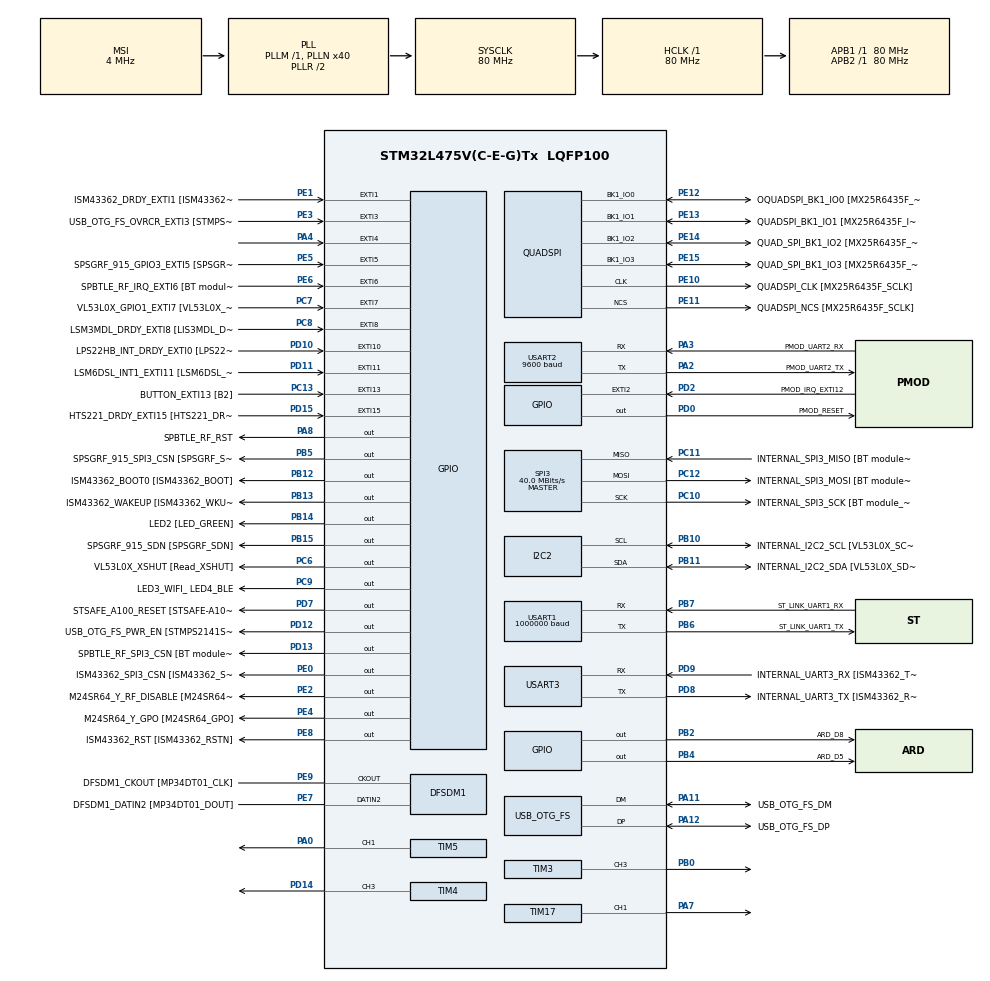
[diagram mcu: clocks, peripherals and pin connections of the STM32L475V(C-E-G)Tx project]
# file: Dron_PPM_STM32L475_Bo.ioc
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PD12.GPIO_Label=USB_OTG_FS_PWR_EN [STMPS2141STR_EN]
SPI3.Direction=SPI_DIRECTION_2LINES
VP_TIM17_VS_ClockSourceINT.Mode=Enable_Timer
SPI3.VirtualType=VM_MASTER
QUADSPI.ClockPrescaler=2
PB10.Mode=I2C
PC12.Signal=SPI3_MOSI
PB14.GPIO_Label=LED2 [LED_GREEN]
PC6.GPIO_Label=VL53L0X_XSHUT [Read_XSHUT]
PA6.GPIO_Label=ARD_D12 [SPI1_MISO]
PB6.GPIO_Label=ST_LINK_UART1_TX
PC15-OSC32_OUT\ (PC15).Mode=LSE-External-Oscillator
PB13.Signal=GPIO_Output
PE6.GPIO_Label=SPBTLE_RF_IRQ_EXTI6 [BT module_SPI_IRQ]
RCC.SYSCLKSource=RCC_SYSCLKSOURCE_PLLCLK
PC14-OSC32_IN\ (PC14).Mode=LSE-External-Oscillator
SH.ADCx_IN16.0=ADC1_IN16
USART3.VirtualMode-Asynchronous=VM_ASYNC
PA14\ (JTCK-SWCLK).Signal=SYS_JTCK-SWCLK
PD4.Signal=USART2_RTS
RCC.APB2TimFreq_Value=80000000
PB6.Signal=USART1_TX
PC7.Signal=GPXTI7
PB6.Mode=Asynchronous
PC3.Signal=ADCx_IN4
PD0.Signal=GPIO_Output
PD8.Signal=USART3_TX
PE5.Signal=GPXTI5
PE1.Signal=GPXTI1
QUADSPI.FlashSize=23
TIM5.Pulse-PWM\ Generation1\ CH1=99
NVIC.EXTI15_10_IRQn=true\:0\:0\:false\:false\:true\:true\:true
TIM3.Pulse-PWM\ Generation3\ CH3=99
TIM4.Channel-PWM\ Generation3\ CH3=TIM_CHANNEL_3
PB2.Signal=GPIO_Output
TIM17.Channel=TIM_CHANNEL_1
PD1.GPIO_Label=PMOD_SPI2_SCK
PB12.GPIO_Label=ISM43362_BOOT0 [ISM43362_BOOT]
PC4.GPIO_Label=ARD_A1 [ADC]
PE9.Signal=S_CKOUTDFSDM1
PB1.GPIO_Label=ARD_D6 [ADC1_IN6]
NVIC.TIM2_IRQn=true\:0\:0\:false\:false\:true\:true\:true
PE4.GPIO_Label=M24SR64_Y_GPO [M24SR64_GPO]
PE2.Signal=GPIO_Output
PA8.Signal=GPIO_Output
PE13.Mode=Single Bank
TIM4.Period=1999
PE10.Signal=QUADSPI_CLK
PA0.Signal=S_TIM5_CH1
Mcu.Package=LQFP100
PB9.Signal=I2C1_SDA
TIM2.Prescaler=7
PB1.Signal=ADCx_IN16
SPI3.Mode=SPI_MODE_MASTER
SH.ADCx_IN14.0=ADC1_IN14
PD12.Signal=GPIO_Output
PA10.Signal=USB_OTG_FS_ID
PE12.GPIO_Label=OQUADSPI_BK1_IO0 [MX25R6435F_IO0]
PC11.Mode=Full_Duplex_Master
RCC.APB1TimFreq_Value=80000000
PA13\ (JTMS-SWDIO).Signal=SYS_JTMS-SWDIO
NVIC.USART1_IRQn=true\:0\:0\:false\:false\:true\:true\:true
PE10.GPIO_Label=QUADSPI_CLK [MX25R6435F_SCLK]
PD15.Signal=GPXTI15
PE12.Mode=Single Bank
NVIC.EXTI4_IRQn=true\:0\:0\:false\:false\:true\:true\:true
TIM4.Pulse-PWM\ Generation3\ CH3=99
PD9.GPIO_Label=INTERNAL_UART3_RX [ISM43362_TX]
TIM17.Pulse=99
PA9.GPIO_Label=USB_OTG_FS_VBUS [STMPS2141STR_OUT]
PC13.Signal=GPXTI13
PD3.Signal=USART2_CTS
PC6.Signal=GPIO_Output
PE10.Mode=Single Bank
PC2.Signal=ADCx_IN3
PB11.GPIO_Label=INTERNAL_I2C2_SDA [VL53L0X_SDA]
PD7.Signal=GPIO_Output
PD1.Signal=SPI2_SCK
PA11.GPIO_Label=USB_OTG_FS_DM
PC0.Signal=ADCx_IN1
USART2.BaudRate=9600
PD10.Signal=GPXTI10
PA3.Mode=Asynchronous
TIM3.Channel-PWM\ Generation3\ CH3=TIM_CHANNEL_3
PB8.GPIO_Label=ARD_D15 [I2C1_SCL]
PA8.GPIO_Label=SPBTLE_RF_RST
PB11.Mode=I2C
PE8.GPIO_Label=ISM43362_RST [ISM43362_RSTN]
PA9.Signal=USB_OTG_FS_VBUS
PA4.GPIO_ModeDefaultEXTI=GPIO_MODE_IT_RISING_FALLING
PE9.GPIO_Label=DFSDM1_CKOUT [MP34DT01_CLK]
PD8.Mode=Asynchronous
PB10.Signal=I2C2_SCL
PB14.Signal=GPIO_Output
PA5.Signal=SPI1_SCK
PC12.Mode=Full_Duplex_Master
PE1.GPIO_Label=ISM43362_DRDY_EXTI1 [ISM43362_DATARDY]
PE14.Signal=QUADSPI_BK1_IO2
PE15.Signal=QUADSPI_BK1_IO3
PB15.GPIO_Label=SPSGRF_915_SDN [SPSGRF_SDN]
PE8.Signal=GPIO_Output
SH.ADCx_IN4.0=ADC1_IN4
QUADSPI.FifoThreshold=4
TIM2.Period=99
PC7.GPIO_Label=VL53L0X_GPIO1_EXTI7 [VL53L0X_GPIO1]
PA13\ (JTMS-SWDIO).Mode=Serial_Wire
PA4.Signal=GPXTI4
PB5.Signal=GPIO_Output
PE13.GPIO_Label=QUADSPI_BK1_IO1 [MX25R6435F_IO1]
PA5.GPIO_Label=ARD_D13 [SPI1_SCK]
PD11.Signal=GPXTI11
PE5.GPIO_Label=SPSGRF_915_GPIO3_EXTI5 [SPSGRF_GPIO_3]
PC12.GPIO_Label=INTERNAL_SPI3_MOSI [BT module_SPI_MOSI] [ISM43362_MOSI]
PA11.Signal=USB_OTG_FS_DM
TIM5.Channel-PWM\ Generation1\ CH1=TIM_CHANNEL_1
ProjectManager.HeapSize=0x200
VP_TIM4_VS_ClockSourceINT.Mode=Internal
SH.S_TIM17_CH1.0=TIM17_CH1,PWM Generation1 CH1
NVIC.PriorityGroup=NVIC_PRIORITYGROUP_4
PE3.Signal=GPXTI3
PC3.GPIO_Label=ARD_A2 [ADC]
PB4\ (NJTRST).GPIO_Label=ARD_D5
PD2.Signal=GPXTI2
PB0.Signal=S_TIM3_CH3
PC1.Signal=ADCx_IN2
PD2.GPIO_Label=PMOD_IRQ_EXTI12
PE15.Mode=Single Bank
Mcu.Family=STM32L4
TIM17.Prescaler=799
RCC.CortexFreq_Value=80000000
PE11.GPIO_Label=QUADSPI_NCS [MX25R6435F_SCLK]
USART1.BaudRate=1000000
SH.ADCx_IN2.0=ADC1_IN2
PC10.Signal=SPI3_SCK
I2C2.Timing=0x10909CEC
PC0.GPIO_Label=ARD_A5 [ADC]
PD0.GPIO_Label=PMOD_RESET
PA11.Mode=Device_Only
PC13.GPIO_Label=BUTTON_EXTI13 [B2]
PB13.GPIO_Label=ISM43362_WAKEUP [ISM43362_WKUP]
PB11.Signal=I2C2_SDA
PB15.Signal=GPIO_Output
PD9.Mode=Asynchronous
ProjectManager.StackSize=0x400
PB3\ (JTDO-TRACESWO).Signal=SYS_JTDO-SWO
PD13.Signal=GPIO_Output
PA12.Signal=USB_OTG_FS_DP
PE11.Mode=Single Bank
PD11.GPIO_Label=LSM6DSL_INT1_EXTI11 [LSM6DSL_INT1]
RCC.HCLKFreq_Value=80000000
SH.ADCx_IN3.0=ADC1_IN3
TIM3.Period=1999
PB5.PinState=GPIO_PIN_SET
RCC.AHBFreq_Value=80000000
RCC.HSE_VALUE=8000000
USART2.VirtualMode-Asynchronous=VM_ASYNC
TIM17.Period=1999
PE13.Signal=QUADSPI_BK1_IO1
TIM3.Prescaler=799
PC11.GPIO_Label=INTERNAL_SPI3_MISO [BT module_SPI_MISO] [ISM43362_MISO]
PA10.GPIO_Label=USB_OTG_FS_ID
PB7.Signal=USART1_RX
PE4.Signal=GPIO_Output
QUADSPI.SampleShifting=QSPI_SAMPLE_SHIFTING_HALFCYCLE
PD7.GPIO_Label=STSAFE_A100_RESET [STSAFE-A100_RESET]
PB7.GPIO_Label=ST_LINK_UART1_RX
PD13.GPIO_Label=SPBTLE_RF_SPI3_CSN [BT module_SPI_CS]
PA6.Signal=SPI1_MISO
PA2.GPIO_Label=PMOD_UART2_TX
USB_OTG_FS.VirtualMode=Device_Only
PE0.GPIO_Label=ISM43362_SPI3_CSN [ISM43362_SSN]
SH.ADCx_IN1.0=ADC1_IN1
PB5.GPIO_Label=SPSGRF_915_SPI3_CSN [SPSGRF_SPI_CS]
SH.S_TIM5_CH1.0=TIM5_CH1,PWM Generation1 CH1
PC5.Signal=ADCx_IN14
PD3.GPIO_Label=PMOD_UART2_CTS
PE7.Signal=S_DATAIN2DFSDM1
PE2.GPIO_Label=M24SR64_Y_RF_DISABLE [M24SR64_RFDIS]
PC2.GPIO_Label=ARD_A3 [ADC]
VP_TIM3_VS_ClockSourceINT.Mode=Internal
RCC.PLLSAI1N=24
PA3.Signal=USART2_RX
RCC.MSI_VALUE=4000000
PA14\ (JTCK-SWCLK).Mode=Serial_Wire
SH.ADCx_IN13.0=ADC1_IN13
PD15.GPIO_Label=HTS221_DRDY_EXTI15 [HTS221_DRDY]
PB9.GPIO_Label=ARD_D14 [I2C1_SDA]
PC10.GPIO_Label=INTERNAL_SPI3_SCK [BT module_SPI_SCLK] [ISM43362_SCK]
PC9.GPIO_Label=LED3_WIFI_ LED4_BLE
PC11.Signal=SPI3_MISO
PC8.Signal=GPXTI8
PC4.Signal=ADCx_IN13
PC10.Mode=Full_Duplex_Master
SH.S_DATAIN2DFSDM1.0=DFSDM1_DATIN2,PDM_SPI_Input_from_ch12_and_Internal_Clock
PE14.GPIO_Label=QUAD_SPI_BK1_IO2 [MX25R6435F_IO2]
PC15-OSC32_OUT\ (PC15).Signal=RCC_OSC32_OUT
PD9.Signal=USART3_RX
PA14\ (JTCK-SWCLK).GPIO_Label=SYS_JTCK_SWCLK
PB3\ (JTDO-TRACESWO).GPIO_Label=SYS_JTD0_SWO
SH.S_TIM3_CH3.0=TIM3_CH3,PWM Generation3 CH3
NVIC.USART2_IRQn=true\:0\:0\:false\:false\:true\:true\:true
PA12.GPIO_Label=USB_OTG_FS_DP
PD8.GPIO_Label=INTERNAL_UART3_TX [ISM43362_RX]
PC8.GPIO_Label=LSM3MDL_DRDY_EXTI8 [LIS3MDL_DRDY]
USART1.VirtualMode-Asynchronous=VM_ASYNC
PE0.PinState=GPIO_PIN_SET
PE15.GPIO_Label=QUAD_SPI_BK1_IO3 [MX25R6435F_IO3]
ProjectManager.TargetToolchain=STM32CubeIDE
PB10.GPIO_Label=INTERNAL_I2C2_SCL [VL53L0X_SCL]
SH.S_TIM4_CH3.0=TIM4_CH3,PWM Generation3 CH3
RCC.USBFreq_Value=48000000
PD10.GPIO_Label=LPS22HB_INT_DRDY_EXTI0 [LPS22HB_INT_DRDY] 
TIM4.Prescaler=799
PE11.Signal=QUADSPI_NCS
board=B-L475E-IOT01A1
RCC.VCOOutputFreq_Value=160000000
RCC.APB2Freq_Value=80000000
SPI3.CalculateBaudRate=40.0 MBits/s
PA13\ (JTMS-SWDIO).GPIO_Label=SYS_JTMS_SWDIO
VP_TIM2_VS_ClockSourceINT.Mode=Internal
PD4.GPIO_Label=PMOD_UART2_RTS
PE14.Mode=Single Bank
SH.S_CKOUTDFSDM1.0=DFSDM1_CKOUT,CKOUT
SH.S_CKOUTDFSDM1.1=DFSDM1_CKOUT,PDM_SPI_Input_from_ch12_and_Internal_Clock
RCC.ADCFreq_Value=48000000
PC1.GPIO_Label=ARD_A4 [ADC]
PE6.Signal=GPXTI6
Mcu.Name=STM32L475V(C-E-G)Tx
PE0.Signal=GPIO_Output
PE7.GPIO_Label=DFSDM1_DATIN2 [MP34DT01_DOUT]
PE12.Signal=QUADSPI_BK1_IO0
PA2.Signal=USART2_TX
PD14.Signal=S_TIM4_CH3
RCC.SYSCLKFreq_VALUE=80000000
PA12.Mode=Device_Only
TIM5.Prescaler=799
PC13.GPIO_ModeDefaultEXTI=GPIO_MODE_IT_FALLING
PC5.GPIO_Label=ARD_A0 [ADC]
PC14-OSC32_IN\ (PC14).Signal=RCC_OSC32_IN
PB7.Mode=Asynchronous
NVIC.EXTI9_5_IRQn=true\:0\:0\:false\:false\:true\:true\:true
PB2.GPIO_Label=ARD_D8
RCC.HSI_VALUE=16000000
RCC.PLLN=40
PA2.Mode=Asynchronous
PB8.Signal=I2C1_SCL
PE3.GPIO_Label=USB_OTG_FS_OVRCR_EXTI3 [STMPS2141STR_FAULT]
TIM5.Period=1999
PC9.Signal=GPIO_Output
PD13.PinState=GPIO_PIN_SET
RCC.APB1Freq_Value=80000000
PB12.Signal=GPIO_Output
PA3.GPIO_Label=PMOD_UART2_RX
PA7.Signal=S_TIM17_CH1
PB4\ (NJTRST).Signal=GPIO_Output

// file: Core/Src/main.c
/* USER CODE BEGIN Header */
/**
  ******************************************************************************
  * @file           : main.c
  * @brief          : Main program body
  ******************************************************************************
  * @attention
  *
  * <h2><center>&copy; Copyright (c) 2021 STMicroelectronics.
  * All rights reserved.</center></h2>
  *
  * This software component is licensed by ST under BSD 3-Clause license,
  * the "License"; You may not use this file except in compliance with the
  * License. You may obtain a copy of the License at:
  *                        opensource.org/licenses/BSD-3-Clause
  *
  ******************************************************************************
  */
/* USER CODE END Header */
#include "main.h"

/* USER CODE BEGIN Includes */
#include <math.h>
#include <string.h>
/* USER CODE END Includes */

DFSDM_Channel_HandleTypeDef hdfsdm1_channel1;

I2C_HandleTypeDef hi2c2;

QSPI_HandleTypeDef hqspi;

SPI_HandleTypeDef hspi3;

TIM_HandleTypeDef htim2;
TIM_HandleTypeDef htim3;
TIM_HandleTypeDef htim4;
TIM_HandleTypeDef htim5;
TIM_HandleTypeDef htim17;

UART_HandleTypeDef huart1;
UART_HandleTypeDef huart2;
UART_HandleTypeDef huart3;

PCD_HandleTypeDef hpcd_USB_OTG_FS;

/* USER CODE BEGIN PV */

int16_t yow_output=0, roll_output=0, pitch_output=0;
int16_t HighTime[9];
int16_t LowTime[9];
int16_t PwmTime[9];
uint32_t Count=0;
uint32_t msTime = 0;
#define Gyro_Max 2.0
#define Gyro_Min -2.0

float Kp = 0.38, Ki = 0, Kd = 0, g_Kp = 0.485, g_Ki = 0, g_Kd = 0.05;
// Kp = 70, g_Kp = 0.0035
uint32_t Motor[4]= {0,};
int16_t Acc_XYZ_Data[3] = {0,};
float Gyro_XYZ_Data[3] = {0,}, LPF_Output[3] ={0,}, fAcc[3] = {0,}, LGY_Output[3] ={0,}, fGyro[3] = {0,};

float Gyro_Pitch_Input=0, Gyro_Roll_Input=0, Gyro_Yaw_Input=0;

float GyroX = 0, GyroY = 0, GyroZ = 0;
float sum[3] ={0,}, g_sum[3] ={0,};
float temp_angleX=0,temp_angleY=0,temp_angleZ=0;
float AcXYZ[3] = {0,} , BaseAc[3] = {0,},BaseG[3] = {0,}, accel_yz, accel_xz, accel_angle_x, accel_angle_y, accel_angle_z;
const float RADIANS_TO_DEGREES = 180 / 3.14159;
float PID[3]={0,};
float DTime = 0.001;
float error[3]={0,}, _error[3]={0,}, PID_P[3]={0,}, PID_I[3]={0,}, PID_D[3]={0,};
float g_error[3]={0,}, _g_error[3]={0,}, g_PID_P[3]={0,}, g_PID_I[3]={0,}, g_PID_D[3]={0,};
float now_speed[3]={0,}, goal_speed[3]={0,};
float now_angle[3];
float goal_angle[3]={0,};
char Data[50], kpData[50],rData;

void HAL_UART_RxCpltCallback(UART_HandleTypeDef *huart)
{
	if(huart->Instance == USART2)
	{
		if(rData == '1') Kp += 1;
		else if(rData == '2') Kp -= 1;
		else if(rData == '3') g_Kp += 0.0001;
		else if(rData == '4') g_Kp -= 0.0001;
		else if(rData == '5') g_Ki += 0.05;
		else if(rData == '6') g_Ki -= 0.05;
		else if(rData == '7') g_Kd += 0.05;
		else if(rData == '8') g_Kd -= 0.05;
		else if(rData == '9')
		{
			for(int i=0; i<3; i++)	g_PID_I[i] = 0;
		}
		sprintf(kpData,"kp=%.2f / gkp=%.4f / gki=%.3f / gkd=%.3f",Kp,g_Kp, g_Ki,g_Kd);
		HAL_UART_Transmit_IT(&huart2, kpData, strlen(kpData));
		HAL_UART_Receive_IT(&huart2, &rData, 1);
	}
}

void HAL_GPIO_EXTI_Callback(uint16_t GPIO_Pin)
{
	if(HAL_GPIO_ReadPin(GPIOA, GPIO_PIN_4)==GPIO_PIN_SET)
	{
		HighTime[Count++] = msTime;
	}
	else if(HAL_GPIO_ReadPin(GPIOA, GPIO_PIN_4)==GPIO_PIN_RESET)
	{
		if(Count > 0)
		{
			LowTime[Count-1] = msTime;
			if(LowTime[Count-1] - HighTime[Count-1]>600)
			{
				Count=9;
			}
			PwmTime[Count-1] = LowTime[Count-1] - HighTime[Count-1];
		}
		if(Count>8)
		{
			Count =0;
			msTime =0;
		}
	}
}

void HAL_TIM_PeriodElapsedCallback(TIM_HandleTypeDef *htim)
{
	if(htim->Instance == TIM2)
	{
		msTime++;
	}
}
/* USER CODE END PV */

void SystemClock_Config(void);
static void MX_GPIO_Init(void);
static void MX_DFSDM1_Init(void);
static void MX_I2C2_Init(void);
static void MX_QUADSPI_Init(void);
static void MX_SPI3_Init(void);
static void MX_USART1_UART_Init(void);
static void MX_USART3_UART_Init(void);
static void MX_USB_OTG_FS_PCD_Init(void);
static void MX_TIM2_Init(void);
static void MX_TIM3_Init(void);
static void MX_TIM4_Init(void);
static void MX_TIM5_Init(void);
static void MX_TIM17_Init(void);
static void MX_USART2_UART_Init(void);

int main(void)
{

  /* MCU Configuration--------------------------------------------------------*/

  /* Reset of all peripherals, Initializes the Flash interface and the Systick. */
  HAL_Init();

  /* Configure the system clock */
  SystemClock_Config();

  /* Initialize all configured peripherals */
  MX_GPIO_Init();
  MX_DFSDM1_Init();
  MX_I2C2_Init();
  MX_QUADSPI_Init();
  MX_SPI3_Init();
  MX_USART1_UART_Init();
  MX_USART3_UART_Init();
  MX_USB_OTG_FS_PCD_Init();
  MX_TIM2_Init();
  MX_TIM3_Init();
  MX_TIM4_Init();
  MX_TIM5_Init();
  MX_TIM17_Init();
  MX_USART2_UART_Init();
  /* USER CODE BEGIN 2 */
  HAL_UART_Receive_IT(&huart2, &rData, 1);

  HAL_TIM_Base_Start_IT(&htim2);

  HAL_TIM_PWM_Start(&htim17, TIM_CHANNEL_1);
  HAL_TIM_PWM_Start(&htim5, TIM_CHANNEL_1);
  HAL_TIM_PWM_Start(&htim4, TIM_CHANNEL_3);
  HAL_TIM_PWM_Start(&htim3, TIM_CHANNEL_3);
  BSP_ACCELERO_Init();
  BSP_GYRO_Init();
  //초기값 설정
  for(int j=0; j<100; j++)
  {
	  BSP_ACCELERO_AccGetXYZ(Acc_XYZ_Data);
	  BSP_GYRO_GetXYZ(Gyro_XYZ_Data);
	  sum[0] += Acc_XYZ_Data[0];
	  sum[1] += Acc_XYZ_Data[1];
	  sum[2] += Acc_XYZ_Data[2];
	  g_sum[0] += Gyro_XYZ_Data[0];
	  g_sum[1] += Gyro_XYZ_Data[1];
	  g_sum[2] += Gyro_XYZ_Data[2];
  }
  BaseAc[0] = sum[0] / 100;
  BaseAc[1] = sum[1] / 100;
  BaseAc[2] = sum[2] / 100;
  BaseG[0] = g_sum[0] / 100;
  BaseG[1] = g_sum[1] / 100;
  BaseG[2] = g_sum[2] / 100;

  /* USER CODE END 2 */

  /* Infinite loop */
  /* USER CODE BEGIN WHILE */
  while (1)
  {
	  //각도, 각속도 측정
	  BSP_ACCELERO_AccGetXYZ(Acc_XYZ_Data);
	  BSP_GYRO_GetXYZ(Gyro_XYZ_Data);
	  //각도 필터
	  fAcc[0] = Acc_XYZ_Data[0] - BaseAc[0];
	  fAcc[1] = Acc_XYZ_Data[1] - BaseAc[1];
	  fAcc[2] = Acc_XYZ_Data[2] + 1008 - BaseAc[2];

	  for(int j=0;j<3;j++)
		  LPF_Output[j] = (0.05 * LPF_Output[j]) + (1-0.05) * fAcc[j];

	  AcXYZ[0] = LPF_Output[0];
	  AcXYZ[1] = LPF_Output[1];
	  AcXYZ[2] = LPF_Output[2];
	  //가속도 필터

	  fGyro[0] = -((Gyro_XYZ_Data[0] - BaseG[0]) / 12.5); //65536
	  fGyro[1] = ((Gyro_XYZ_Data[1] - BaseG[1]) / 16);
	  fGyro[2] = -((Gyro_XYZ_Data[2] - BaseG[2]) / 20);

	  for(int j=0;j<3;j++)
		  LGY_Output[j] = (0.05 * LGY_Output[j]) + (1-0.05) * fGyro[j];

	  fGyro[0] = LGY_Output[0];
	  fGyro[1] = LGY_Output[1];
	  fGyro[2] =  LGY_Output[2];

	  Gyro_Pitch_Input = (Gyro_Pitch_Input * 0.7) + ((fGyro[0] / 65.5) * 0.3);
	  Gyro_Roll_Input  = (Gyro_Roll_Input * 0.7)  + ((fGyro[1] / 65.5) * 0.3);
	  Gyro_Yaw_Input   = (Gyro_Yaw_Input * 0.7)   + ((fGyro[2] / 65.5) * 0.3);

	  now_angle[0] = now_angle[0] + (fGyro[0] *  0.0000382);
	  now_angle[1]  = now_angle[1]  + (fGyro[1] *  0.0000382);

	  //각도 자료형 변환
	  accel_xz = sqrt(pow(AcXYZ[0],2) + pow(AcXYZ[2],2));
	  accel_angle_x = atan(-AcXYZ[1]/accel_xz) * RADIANS_TO_DEGREES;
	  accel_yz = sqrt(pow(AcXYZ[1],2) + pow(AcXYZ[2],2));
	  accel_angle_y = atan(-AcXYZ[0]/accel_yz) * RADIANS_TO_DEGREES;
	  accel_angle_z = 0;

	  //각속도, 각도의 비율을 조절
	  now_angle[0] = (0.9996 * now_angle[0] + (0.0004)*accel_angle_x);			//x		Pitch
	  now_angle[1] = (0.9996 * now_angle[1] + (0.0004)*accel_angle_y);			//y		Roll
	  now_angle[2] = Gyro_Yaw_Input;													//z		Yaw
	  //now_angle[2] = temp_angleZ;
	  for(int j=0; j <3; j++)
	  {
		  if(now_angle[j]>35)
			  now_angle[j] = 35;
		  else if( now_angle[j]<-35)
			  now_angle[j] = -35;
	  }
	  goal_angle[0] = (PwmTime[2]-112);
	  goal_angle[1] = -(PwmTime[0]-112);
	  goal_angle[2] = -(PwmTime[3]-112);

	  //목표값과 기기상태값의 차이를 error로 저장
	  error[0] = (goal_angle[0] - now_angle[0]);
	  error[1] = (goal_angle[1] - now_angle[1]);
	  error[2] = (goal_angle[2] - now_angle[2]);

	  //2중 PID제어
	  PID_P[0]  = Kp * error[0];
	  PID_I[0]  = Ki * error[0] * DTime;
	  PID_D[0]  = Kd * (error[0]-_error[0]);

	  PID_P[1]  = Kp * error[1];
	  PID_I[1]  = Ki * error[1] * DTime;
	  PID_D[1]  = Kd * (error[1]-_error[1]);

	  PID_P[2]  = Kp * error[2];
	  PID_I[2]  = Ki * error[2] * DTime;
	  PID_D[2]  = Kd * (error[2]-_error[2]);

	  g_error[0] = PID_P[0] - (Gyro_Pitch_Input*0.05); //GyroX
	  g_error[1] = PID_P[1] - (Gyro_Roll_Input*0.05);
	  g_error[2] = PID_P[2] - (Gyro_Yaw_Input*0.05);

	  g_PID_P[0]  = g_Kp * g_error[0];
	  g_PID_I[0] += g_Ki * g_error[0]*DTime;
	  g_PID_D[0]  = g_Kd * (g_error[0]-_g_error[0]);

	  g_PID_P[1]  = g_Kp * g_error[1];
	  g_PID_I[1] += g_Ki * g_error[1]*DTime;
	  g_PID_D[1]  = g_Kd * (g_error[1]-_g_error[1]);

	  g_PID_P[2]  = g_Kp * g_error[2];
	  g_PID_I[2] += g_Ki * g_error[2]*DTime;
	  g_PID_D[2]  = g_Kd * (g_error[2]-_g_error[2]);

	  pitch_output = (g_PID_P[0] + g_PID_I[0] + g_PID_D[0]);
	  roll_output  = (g_PID_P[1] + g_PID_I[1] + g_PID_D[1]);
	  yow_output = 0;// g_PID_P[2] + g_PID_I[2];

	  Motor[0] = ((PwmTime[1]-70) ==0|| PwmTime[1]-69 == 0) ? 0 : (PwmTime[1] + yow_output + roll_output + pitch_output) + 38; 		//1
	  Motor[1] = ((PwmTime[1]-70) ==0|| PwmTime[1]-69 == 0) ? 0 : (PwmTime[1] - yow_output - roll_output + pitch_output) + 40;		//2
	  Motor[2] = ((PwmTime[1]-70) ==0|| PwmTime[1]-69 == 0) ? 0 : (PwmTime[1] + yow_output - roll_output - pitch_output) + 40;		//3
	  Motor[3] = ((PwmTime[1]-70) ==0|| PwmTime[1]-69 == 0) ? 0 : (PwmTime[1] - yow_output + roll_output - pitch_output) + 37;		//4

	  TIM3->CCR3 =  Motor[0];		//PB0	D3			5
	  TIM17->CCR1 = Motor[1];		//PA7	D11			1
	  TIM5->CCR1 =  Motor[2];		//PA0	D1  		11
	  TIM4->CCR3 =  Motor[3];		//PD14	D2  		7

	  //sprintf(Data,"%d,0,10\n",pitch_output); //Motor[0]
	  sprintf(Data,"%f,-50,50\n",now_angle[0]);
	  HAL_UART_Transmit_IT(&huart1, Data, strlen(Data));

	  _error[0] = error[0];
	  _error[1] = error[1];
	  _error[2] = error[2];

	  _g_error[0] = g_error[0];
	  _g_error[1] = g_error[1];
	  _g_error[2] = g_error[2];

	  HAL_Delay(1);
    /* USER CODE END WHILE */

  }
}

void SystemClock_Config(void)
{
  RCC_OscInitTypeDef RCC_OscInitStruct = {0};
  RCC_ClkInitTypeDef RCC_ClkInitStruct = {0};
  RCC_PeriphCLKInitTypeDef PeriphClkInit = {0};

  /** Configure LSE Drive Capability
  */
  HAL_PWR_EnableBkUpAccess();
  __HAL_RCC_LSEDRIVE_CONFIG(RCC_LSEDRIVE_LOW);
  /** Initializes the RCC Oscillators according to the specified parameters
  * in the RCC_OscInitTypeDef structure.
  */
  RCC_OscInitStruct.OscillatorType = RCC_OSCILLATORTYPE_LSE|RCC_OSCILLATORTYPE_MSI;
  RCC_OscInitStruct.LSEState = RCC_LSE_ON;
  RCC_OscInitStruct.MSIState = RCC_MSI_ON;
  RCC_OscInitStruct.MSICalibrationValue = 0;
  RCC_OscInitStruct.MSIClockRange = RCC_MSIRANGE_6;
  RCC_OscInitStruct.PLL.PLLState = RCC_PLL_ON;
  RCC_OscInitStruct.PLL.PLLSource = RCC_PLLSOURCE_MSI;
  RCC_OscInitStruct.PLL.PLLM = 1;
  RCC_OscInitStruct.PLL.PLLN = 40;
  RCC_OscInitStruct.PLL.PLLP = RCC_PLLP_DIV7;
  RCC_OscInitStruct.PLL.PLLQ = RCC_PLLQ_DIV2;
  RCC_OscInitStruct.PLL.PLLR = RCC_PLLR_DIV2;
  if (HAL_RCC_OscConfig(&RCC_OscInitStruct) != HAL_OK)
  {
    Error_Handler();
  }
  /** Initializes the CPU, AHB and APB buses clocks
  */
  RCC_ClkInitStruct.ClockType = RCC_CLOCKTYPE_HCLK|RCC_CLOCKTYPE_SYSCLK
                              |RCC_CLOCKTYPE_PCLK1|RCC_CLOCKTYPE_PCLK2;
  RCC_ClkInitStruct.SYSCLKSource = RCC_SYSCLKSOURCE_PLLCLK;
  RCC_ClkInitStruct.AHBCLKDivider = RCC_SYSCLK_DIV1;
  RCC_ClkInitStruct.APB1CLKDivider = RCC_HCLK_DIV1;
  RCC_ClkInitStruct.APB2CLKDivider = RCC_HCLK_DIV1;

  if (HAL_RCC_ClockConfig(&RCC_ClkInitStruct, FLASH_LATENCY_4) != HAL_OK)
  {
    Error_Handler();
  }
  PeriphClkInit.PeriphClockSelection = RCC_PERIPHCLK_USART1|RCC_PERIPHCLK_USART2
                              |RCC_PERIPHCLK_USART3|RCC_PERIPHCLK_I2C2
                              |RCC_PERIPHCLK_DFSDM1|RCC_PERIPHCLK_USB;
  PeriphClkInit.Usart1ClockSelection = RCC_USART1CLKSOURCE_PCLK2;
  PeriphClkInit.Usart2ClockSelection = RCC_USART2CLKSOURCE_PCLK1;
  PeriphClkInit.Usart3ClockSelection = RCC_USART3CLKSOURCE_PCLK1;
  PeriphClkInit.I2c2ClockSelection = RCC_I2C2CLKSOURCE_PCLK1;
  PeriphClkInit.Dfsdm1ClockSelection = RCC_DFSDM1CLKSOURCE_PCLK;
  PeriphClkInit.UsbClockSelection = RCC_USBCLKSOURCE_PLLSAI1;
  PeriphClkInit.PLLSAI1.PLLSAI1Source = RCC_PLLSOURCE_MSI;
  PeriphClkInit.PLLSAI1.PLLSAI1M = 1;
  PeriphClkInit.PLLSAI1.PLLSAI1N = 24;
  PeriphClkInit.PLLSAI1.PLLSAI1P = RCC_PLLP_DIV7;
  PeriphClkInit.PLLSAI1.PLLSAI1Q = RCC_PLLQ_DIV2;
  PeriphClkInit.PLLSAI1.PLLSAI1R = RCC_PLLR_DIV2;
  PeriphClkInit.PLLSAI1.PLLSAI1ClockOut = RCC_PLLSAI1_48M2CLK;
  if (HAL_RCCEx_PeriphCLKConfig(&PeriphClkInit) != HAL_OK)
  {
    Error_Handler();
  }
  /** Configure the main internal regulator output voltage
  */
  if (HAL_PWREx_ControlVoltageScaling(PWR_REGULATOR_VOLTAGE_SCALE1) != HAL_OK)
  {
    Error_Handler();
  }
  /** Enable MSI Auto calibration
  */
  HAL_RCCEx_EnableMSIPLLMode();
}

static void MX_DFSDM1_Init(void)
{

  hdfsdm1_channel1.Instance = DFSDM1_Channel1;
  hdfsdm1_channel1.Init.OutputClock.Activation = ENABLE;
  hdfsdm1_channel1.Init.OutputClock.Selection = DFSDM_CHANNEL_OUTPUT_CLOCK_SYSTEM;
  hdfsdm1_channel1.Init.OutputClock.Divider = 2;
  hdfsdm1_channel1.Init.Input.Multiplexer = DFSDM_CHANNEL_EXTERNAL_INPUTS;
  hdfsdm1_channel1.Init.Input.DataPacking = DFSDM_CHANNEL_STANDARD_MODE;
  hdfsdm1_channel1.Init.Input.Pins = DFSDM_CHANNEL_FOLLOWING_CHANNEL_PINS;
  hdfsdm1_channel1.Init.SerialInterface.Type = DFSDM_CHANNEL_SPI_RISING;
  hdfsdm1_channel1.Init.SerialInterface.SpiClock = DFSDM_CHANNEL_SPI_CLOCK_INTERNAL;
  hdfsdm1_channel1.Init.Awd.FilterOrder = DFSDM_CHANNEL_FASTSINC_ORDER;
  hdfsdm1_channel1.Init.Awd.Oversampling = 1;
  hdfsdm1_channel1.Init.Offset = 0;
  hdfsdm1_channel1.Init.RightBitShift = 0x00;
  if (HAL_DFSDM_ChannelInit(&hdfsdm1_channel1) != HAL_OK)
  {
    Error_Handler();
  }

}

static void MX_I2C2_Init(void)
{

  hi2c2.Instance = I2C2;
  hi2c2.Init.Timing = 0x10909CEC;
  hi2c2.Init.OwnAddress1 = 0;
  hi2c2.Init.AddressingMode = I2C_ADDRESSINGMODE_7BIT;
  hi2c2.Init.DualAddressMode = I2C_DUALADDRESS_DISABLE;
  hi2c2.Init.OwnAddress2 = 0;
  hi2c2.Init.OwnAddress2Masks = I2C_OA2_NOMASK;
  hi2c2.Init.GeneralCallMode = I2C_GENERALCALL_DISABLE;
  hi2c2.Init.NoStretchMode = I2C_NOSTRETCH_DISABLE;
  if (HAL_I2C_Init(&hi2c2) != HAL_OK)
  {
    Error_Handler();
  }
  /** Configure Analogue filter
  */
  if (HAL_I2CEx_ConfigAnalogFilter(&hi2c2, I2C_ANALOGFILTER_ENABLE) != HAL_OK)
  {
    Error_Handler();
  }
  /** Configure Digital filter
  */
  if (HAL_I2CEx_ConfigDigitalFilter(&hi2c2, 0) != HAL_OK)
  {
    Error_Handler();
  }

}

static void MX_QUADSPI_Init(void)
{

  /* QUADSPI parameter configuration*/
  hqspi.Instance = QUADSPI;
  hqspi.Init.ClockPrescaler = 2;
  hqspi.Init.FifoThreshold = 4;
  hqspi.Init.SampleShifting = QSPI_SAMPLE_SHIFTING_HALFCYCLE;
  hqspi.Init.FlashSize = 23;
  hqspi.Init.ChipSelectHighTime = QSPI_CS_HIGH_TIME_1_CYCLE;
  hqspi.Init.ClockMode = QSPI_CLOCK_MODE_0;
  if (HAL_QSPI_Init(&hqspi) != HAL_OK)
  {
    Error_Handler();
  }

}

static void MX_SPI3_Init(void)
{

  /* SPI3 parameter configuration*/
  hspi3.Instance = SPI3;
  hspi3.Init.Mode = SPI_MODE_MASTER;
  hspi3.Init.Direction = SPI_DIRECTION_2LINES;
  hspi3.Init.DataSize = SPI_DATASIZE_4BIT;
  hspi3.Init.CLKPolarity = SPI_POLARITY_LOW;
  hspi3.Init.CLKPhase = SPI_PHASE_1EDGE;
  hspi3.Init.NSS = SPI_NSS_SOFT;
  hspi3.Init.BaudRatePrescaler = SPI_BAUDRATEPRESCALER_2;
  hspi3.Init.FirstBit = SPI_FIRSTBIT_MSB;
  hspi3.Init.TIMode = SPI_TIMODE_DISABLE;
  hspi3.Init.CRCCalculation = SPI_CRCCALCULATION_DISABLE;
  hspi3.Init.CRCPolynomial = 7;
  hspi3.Init.CRCLength = SPI_CRC_LENGTH_DATASIZE;
  hspi3.Init.NSSPMode = SPI_NSS_PULSE_ENABLE;
  if (HAL_SPI_Init(&hspi3) != HAL_OK)
  {
    Error_Handler();
  }

}

static void MX_TIM2_Init(void)
{

  TIM_ClockConfigTypeDef sClockSourceConfig = {0};
  TIM_MasterConfigTypeDef sMasterConfig = {0};

  htim2.Instance = TIM2;
  htim2.Init.Prescaler = 7;
  htim2.Init.CounterMode = TIM_COUNTERMODE_UP;
  htim2.Init.Period = 99;
  htim2.Init.ClockDivision = TIM_CLOCKDIVISION_DIV1;
  htim2.Init.AutoReloadPreload = TIM_AUTORELOAD_PRELOAD_DISABLE;
  if (HAL_TIM_Base_Init(&htim2) != HAL_OK)
  {
    Error_Handler();
  }
  sClockSourceConfig.ClockSource = TIM_CLOCKSOURCE_INTERNAL;
  if (HAL_TIM_ConfigClockSource(&htim2, &sClockSourceConfig) != HAL_OK)
  {
    Error_Handler();
  }
  sMasterConfig.MasterOutputTrigger = TIM_TRGO_RESET;
  sMasterConfig.MasterSlaveMode = TIM_MASTERSLAVEMODE_DISABLE;
  if (HAL_TIMEx_MasterConfigSynchronization(&htim2, &sMasterConfig) != HAL_OK)
  {
    Error_Handler();
  }

}

static void MX_TIM3_Init(void)
{

  TIM_ClockConfigTypeDef sClockSourceConfig = {0};
  TIM_MasterConfigTypeDef sMasterConfig = {0};
  TIM_OC_InitTypeDef sConfigOC = {0};

  htim3.Instance = TIM3;
  htim3.Init.Prescaler = 799;
  htim3.Init.CounterMode = TIM_COUNTERMODE_UP;
  htim3.Init.Period = 1999;
  htim3.Init.ClockDivision = TIM_CLOCKDIVISION_DIV1;
  htim3.Init.AutoReloadPreload = TIM_AUTORELOAD_PRELOAD_DISABLE;
  if (HAL_TIM_Base_Init(&htim3) != HAL_OK)
  {
    Error_Handler();
  }
  sClockSourceConfig.ClockSource = TIM_CLOCKSOURCE_INTERNAL;
  if (HAL_TIM_ConfigClockSource(&htim3, &sClockSourceConfig) != HAL_OK)
  {
    Error_Handler();
  }
  if (HAL_TIM_PWM_Init(&htim3) != HAL_OK)
  {
    Error_Handler();
  }
  sMasterConfig.MasterOutputTrigger = TIM_TRGO_RESET;
  sMasterConfig.MasterSlaveMode = TIM_MASTERSLAVEMODE_DISABLE;
  if (HAL_TIMEx_MasterConfigSynchronization(&htim3, &sMasterConfig) != HAL_OK)
  {
    Error_Handler();
  }
  sConfigOC.OCMode = TIM_OCMODE_PWM1;
  sConfigOC.Pulse = 99;
  sConfigOC.OCPolarity = TIM_OCPOLARITY_HIGH;
  sConfigOC.OCFastMode = TIM_OCFAST_DISABLE;
  if (HAL_TIM_PWM_ConfigChannel(&htim3, &sConfigOC, TIM_CHANNEL_3) != HAL_OK)
  {
    Error_Handler();
  }
  HAL_TIM_MspPostInit(&htim3);

}

static void MX_TIM4_Init(void)
{

  TIM_ClockConfigTypeDef sClockSourceConfig = {0};
  TIM_MasterConfigTypeDef sMasterConfig = {0};
  TIM_OC_InitTypeDef sConfigOC = {0};

  htim4.Instance = TIM4;
  htim4.Init.Prescaler = 799;
  htim4.Init.CounterMode = TIM_COUNTERMODE_UP;
  htim4.Init.Period = 1999;
  htim4.Init.ClockDivision = TIM_CLOCKDIVISION_DIV1;
  htim4.Init.AutoReloadPreload = TIM_AUTORELOAD_PRELOAD_DISABLE;
  if (HAL_TIM_Base_Init(&htim4) != HAL_OK)
  {
    Error_Handler();
  }
  sClockSourceConfig.ClockSource = TIM_CLOCKSOURCE_INTERNAL;
  if (HAL_TIM_ConfigClockSource(&htim4, &sClockSourceConfig) != HAL_OK)
  {
    Error_Handler();
  }
  if (HAL_TIM_PWM_Init(&htim4) != HAL_OK)
  {
    Error_Handler();
  }
  sMasterConfig.MasterOutputTrigger = TIM_TRGO_RESET;
  sMasterConfig.MasterSlaveMode = TIM_MASTERSLAVEMODE_DISABLE;
  if (HAL_TIMEx_MasterConfigSynchronization(&htim4, &sMasterConfig) != HAL_OK)
  {
    Error_Handler();
  }
  sConfigOC.OCMode = TIM_OCMODE_PWM1;
  sConfigOC.Pulse = 99;
  sConfigOC.OCPolarity = TIM_OCPOLARITY_HIGH;
  sConfigOC.OCFastMode = TIM_OCFAST_DISABLE;
  if (HAL_TIM_PWM_ConfigChannel(&htim4, &sConfigOC, TIM_CHANNEL_3) != HAL_OK)
  {
    Error_Handler();
  }
  HAL_TIM_MspPostInit(&htim4);

}

static void MX_TIM5_Init(void)
{

  TIM_MasterConfigTypeDef sMasterConfig = {0};
  TIM_OC_InitTypeDef sConfigOC = {0};

  htim5.Instance = TIM5;
  htim5.Init.Prescaler = 799;
  htim5.Init.CounterMode = TIM_COUNTERMODE_UP;
  htim5.Init.Period = 1999;
  htim5.Init.ClockDivision = TIM_CLOCKDIVISION_DIV1;
  htim5.Init.AutoReloadPreload = TIM_AUTORELOAD_PRELOAD_DISABLE;
  if (HAL_TIM_PWM_Init(&htim5) != HAL_OK)
  {
    Error_Handler();
  }
  sMasterConfig.MasterOutputTrigger = TIM_TRGO_RESET;
  sMasterConfig.MasterSlaveMode = TIM_MASTERSLAVEMODE_DISABLE;
  if (HAL_TIMEx_MasterConfigSynchronization(&htim5, &sMasterConfig) != HAL_OK)
  {
    Error_Handler();
  }
  sConfigOC.OCMode = TIM_OCMODE_PWM1;
  sConfigOC.Pulse = 99;
  sConfigOC.OCPolarity = TIM_OCPOLARITY_HIGH;
  sConfigOC.OCFastMode = TIM_OCFAST_DISABLE;
  if (HAL_TIM_PWM_ConfigChannel(&htim5, &sConfigOC, TIM_CHANNEL_1) != HAL_OK)
  {
    Error_Handler();
  }
  HAL_TIM_MspPostInit(&htim5);

}

static void MX_TIM17_Init(void)
{

  TIM_OC_InitTypeDef sConfigOC = {0};
  TIM_BreakDeadTimeConfigTypeDef sBreakDeadTimeConfig = {0};

  htim17.Instance = TIM17;
  htim17.Init.Prescaler = 799;
  htim17.Init.CounterMode = TIM_COUNTERMODE_UP;
  htim17.Init.Period = 1999;
  htim17.Init.ClockDivision = TIM_CLOCKDIVISION_DIV1;
  htim17.Init.RepetitionCounter = 0;
  htim17.Init.AutoReloadPreload = TIM_AUTORELOAD_PRELOAD_DISABLE;
  if (HAL_TIM_Base_Init(&htim17) != HAL_OK)
  {
    Error_Handler();
  }
  if (HAL_TIM_PWM_Init(&htim17) != HAL_OK)
  {
    Error_Handler();
  }
  sConfigOC.OCMode = TIM_OCMODE_PWM1;
  sConfigOC.Pulse = 99;
  sConfigOC.OCPolarity = TIM_OCPOLARITY_HIGH;
  sConfigOC.OCNPolarity = TIM_OCNPOLARITY_HIGH;
  sConfigOC.OCFastMode = TIM_OCFAST_DISABLE;
  sConfigOC.OCIdleState = TIM_OCIDLESTATE_RESET;
  sConfigOC.OCNIdleState = TIM_OCNIDLESTATE_RESET;
  if (HAL_TIM_PWM_ConfigChannel(&htim17, &sConfigOC, TIM_CHANNEL_1) != HAL_OK)
  {
    Error_Handler();
  }
  sBreakDeadTimeConfig.OffStateRunMode = TIM_OSSR_DISABLE;
  sBreakDeadTimeConfig.OffStateIDLEMode = TIM_OSSI_DISABLE;
  sBreakDeadTimeConfig.LockLevel = TIM_LOCKLEVEL_OFF;
  sBreakDeadTimeConfig.DeadTime = 0;
  sBreakDeadTimeConfig.BreakState = TIM_BREAK_DISABLE;
  sBreakDeadTimeConfig.BreakPolarity = TIM_BREAKPOLARITY_HIGH;
  sBreakDeadTimeConfig.AutomaticOutput = TIM_AUTOMATICOUTPUT_DISABLE;
  if (HAL_TIMEx_ConfigBreakDeadTime(&htim17, &sBreakDeadTimeConfig) != HAL_OK)
  {
    Error_Handler();
  }
  HAL_TIM_MspPostInit(&htim17);

}

static void MX_USART1_UART_Init(void)
{

  huart1.Instance = USART1;
  huart1.Init.BaudRate = 1000000;
  huart1.Init.WordLength = UART_WORDLENGTH_8B;
  huart1.Init.StopBits = UART_STOPBITS_1;
  huart1.Init.Parity = UART_PARITY_NONE;
  huart1.Init.Mode = UART_MODE_TX_RX;
  huart1.Init.HwFlowCtl = UART_HWCONTROL_NONE;
  huart1.Init.OverSampling = UART_OVERSAMPLING_16;
  huart1.Init.OneBitSampling = UART_ONE_BIT_SAMPLE_DISABLE;
  huart1.AdvancedInit.AdvFeatureInit = UART_ADVFEATURE_NO_INIT;
  if (HAL_UART_Init(&huart1) != HAL_OK)
  {
    Error_Handler();
  }

}

static void MX_USART2_UART_Init(void)
{

  huart2.Instance = USART2;
  huart2.Init.BaudRate = 9600;
  huart2.Init.WordLength = UART_WORDLENGTH_8B;
  huart2.Init.StopBits = UART_STOPBITS_1;
  huart2.Init.Parity = UART_PARITY_NONE;
  huart2.Init.Mode = UART_MODE_TX_RX;
  huart2.Init.HwFlowCtl = UART_HWCONTROL_NONE;
  huart2.Init.OverSampling = UART_OVERSAMPLING_16;
  huart2.Init.OneBitSampling = UART_ONE_BIT_SAMPLE_DISABLE;
  huart2.AdvancedInit.AdvFeatureInit = UART_ADVFEATURE_NO_INIT;
  if (HAL_UART_Init(&huart2) != HAL_OK)
  {
    Error_Handler();
  }

}

static void MX_USART3_UART_Init(void)
{

  huart3.Instance = USART3;
  huart3.Init.BaudRate = 115200;
  huart3.Init.WordLength = UART_WORDLENGTH_8B;
  huart3.Init.StopBits = UART_STOPBITS_1;
  huart3.Init.Parity = UART_PARITY_NONE;
  huart3.Init.Mode = UART_MODE_TX_RX;
  huart3.Init.HwFlowCtl = UART_HWCONTROL_NONE;
  huart3.Init.OverSampling = UART_OVERSAMPLING_16;
  huart3.Init.OneBitSampling = UART_ONE_BIT_SAMPLE_DISABLE;
  huart3.AdvancedInit.AdvFeatureInit = UART_ADVFEATURE_NO_INIT;
  if (HAL_UART_Init(&huart3) != HAL_OK)
  {
    Error_Handler();
  }

}

static void MX_USB_OTG_FS_PCD_Init(void)
{

  hpcd_USB_OTG_FS.Instance = USB_OTG_FS;
  hpcd_USB_OTG_FS.Init.dev_endpoints = 6;
  hpcd_USB_OTG_FS.Init.speed = PCD_SPEED_FULL;
  hpcd_USB_OTG_FS.Init.phy_itface = PCD_PHY_EMBEDDED;
  hpcd_USB_OTG_FS.Init.Sof_enable = DISABLE;
  hpcd_USB_OTG_FS.Init.low_power_enable = DISABLE;
  hpcd_USB_OTG_FS.Init.lpm_enable = DISABLE;
  hpcd_USB_OTG_FS.Init.battery_charging_enable = DISABLE;
  hpcd_USB_OTG_FS.Init.use_dedicated_ep1 = DISABLE;
  hpcd_USB_OTG_FS.Init.vbus_sensing_enable = DISABLE;
  if (HAL_PCD_Init(&hpcd_USB_OTG_FS) != HAL_OK)
  {
    Error_Handler();
  }

}

static void MX_GPIO_Init(void)
{
  GPIO_InitTypeDef GPIO_InitStruct = {0};

  /* GPIO Ports Clock Enable */
  __HAL_RCC_GPIOE_CLK_ENABLE();
  __HAL_RCC_GPIOC_CLK_ENABLE();
  __HAL_RCC_GPIOA_CLK_ENABLE();
  __HAL_RCC_GPIOB_CLK_ENABLE();
  __HAL_RCC_GPIOD_CLK_ENABLE();

  /*Configure GPIO pin Output Level */
  HAL_GPIO_WritePin(GPIOE, M24SR64_Y_RF_DISABLE_Pin|M24SR64_Y_GPO_Pin|ISM43362_RST_Pin, GPIO_PIN_RESET);

  /*Configure GPIO pin Output Level */
  HAL_GPIO_WritePin(GPIOB, ARD_D8_Pin|ISM43362_BOOT0_Pin|ISM43362_WAKEUP_Pin|LED2_Pin
                          |SPSGRF_915_SDN_Pin|ARD_D5_Pin, GPIO_PIN_RESET);

  /*Configure GPIO pin Output Level */
  HAL_GPIO_WritePin(GPIOD, USB_OTG_FS_PWR_EN_Pin|PMOD_RESET_Pin|STSAFE_A100_RESET_Pin, GPIO_PIN_RESET);

  /*Configure GPIO pin Output Level */
  HAL_GPIO_WritePin(SPBTLE_RF_SPI3_CSN_GPIO_Port, SPBTLE_RF_SPI3_CSN_Pin, GPIO_PIN_SET);

  /*Configure GPIO pin Output Level */
  HAL_GPIO_WritePin(GPIOC, VL53L0X_XSHUT_Pin|LED3_WIFI__LED4_BLE_Pin, GPIO_PIN_RESET);

  /*Configure GPIO pin Output Level */
  HAL_GPIO_WritePin(SPBTLE_RF_RST_GPIO_Port, SPBTLE_RF_RST_Pin, GPIO_PIN_RESET);

  /*Configure GPIO pin Output Level */
  HAL_GPIO_WritePin(SPSGRF_915_SPI3_CSN_GPIO_Port, SPSGRF_915_SPI3_CSN_Pin, GPIO_PIN_SET);

  /*Configure GPIO pin Output Level */
  HAL_GPIO_WritePin(ISM43362_SPI3_CSN_GPIO_Port, ISM43362_SPI3_CSN_Pin, GPIO_PIN_SET);

  /*Configure GPIO pins : M24SR64_Y_RF_DISABLE_Pin M24SR64_Y_GPO_Pin ISM43362_RST_Pin ISM43362_SPI3_CSN_Pin */
  GPIO_InitStruct.Pin = M24SR64_Y_RF_DISABLE_Pin|M24SR64_Y_GPO_Pin|ISM43362_RST_Pin|ISM43362_SPI3_CSN_Pin;
  GPIO_InitStruct.Mode = GPIO_MODE_OUTPUT_PP;
  GPIO_InitStruct.Pull = GPIO_NOPULL;
  GPIO_InitStruct.Speed = GPIO_SPEED_FREQ_LOW;
  HAL_GPIO_Init(GPIOE, &GPIO_InitStruct);

  /*Configure GPIO pins : USB_OTG_FS_OVRCR_EXTI3_Pin SPSGRF_915_GPIO3_EXTI5_Pin SPBTLE_RF_IRQ_EXTI6_Pin ISM43362_DRDY_EXTI1_Pin */
  GPIO_InitStruct.Pin = USB_OTG_FS_OVRCR_EXTI3_Pin|SPSGRF_915_GPIO3_EXTI5_Pin|SPBTLE_RF_IRQ_EXTI6_Pin|ISM43362_DRDY_EXTI1_Pin;
  GPIO_InitStruct.Mode = GPIO_MODE_IT_RISING;
  GPIO_InitStruct.Pull = GPIO_NOPULL;
  HAL_GPIO_Init(GPIOE, &GPIO_InitStruct);

  /*Configure GPIO pin : BUTTON_EXTI13_Pin */
  GPIO_InitStruct.Pin = BUTTON_EXTI13_Pin;
  GPIO_InitStruct.Mode = GPIO_MODE_IT_FALLING;
  GPIO_InitStruct.Pull = GPIO_NOPULL;
  HAL_GPIO_Init(BUTTON_EXTI13_GPIO_Port, &GPIO_InitStruct);

  /*Configure GPIO pins : ARD_A5_Pin ARD_A4_Pin ARD_A3_Pin ARD_A2_Pin
                           ARD_A1_Pin ARD_A0_Pin */
  GPIO_InitStruct.Pin = ARD_A5_Pin|ARD_A4_Pin|ARD_A3_Pin|ARD_A2_Pin
                          |ARD_A1_Pin|ARD_A0_Pin;
  GPIO_InitStruct.Mode = GPIO_MODE_ANALOG_ADC_CONTROL;
  GPIO_InitStruct.Pull = GPIO_NOPULL;
  HAL_GPIO_Init(GPIOC, &GPIO_InitStruct);

  /*Configure GPIO pin : PA4 */
  GPIO_InitStruct.Pin = GPIO_PIN_4;
  GPIO_InitStruct.Mode = GPIO_MODE_IT_RISING_FALLING;
  GPIO_InitStruct.Pull = GPIO_NOPULL;
  HAL_GPIO_Init(GPIOA, &GPIO_InitStruct);

  /*Configure GPIO pins : ARD_D13_Pin ARD_D12_Pin */
  GPIO_InitStruct.Pin = ARD_D13_Pin|ARD_D12_Pin;
  GPIO_InitStruct.Mode = GPIO_MODE_AF_PP;
  GPIO_InitStruct.Pull = GPIO_NOPULL;
  GPIO_InitStruct.Speed = GPIO_SPEED_FREQ_VERY_HIGH;
  GPIO_InitStruct.Alternate = GPIO_AF5_SPI1;
  HAL_GPIO_Init(GPIOA, &GPIO_InitStruct);

  /*Configure GPIO pin : ARD_D6_Pin */
  GPIO_InitStruct.Pin = ARD_D6_Pin;
  GPIO_InitStruct.Mode = GPIO_MODE_ANALOG_ADC_CONTROL;
  GPIO_InitStruct.Pull = GPIO_NOPULL;
  HAL_GPIO_Init(ARD_D6_GPIO_Port, &GPIO_InitStruct);

  /*Configure GPIO pins : ARD_D8_Pin ISM43362_BOOT0_Pin ISM43362_WAKEUP_Pin LED2_Pin
                           SPSGRF_915_SDN_Pin ARD_D5_Pin SPSGRF_915_SPI3_CSN_Pin */
  GPIO_InitStruct.Pin = ARD_D8_Pin|ISM43362_BOOT0_Pin|ISM43362_WAKEUP_Pin|LED2_Pin
                          |SPSGRF_915_SDN_Pin|ARD_D5_Pin|SPSGRF_915_SPI3_CSN_Pin;
  GPIO_InitStruct.Mode = GPIO_MODE_OUTPUT_PP;
  GPIO_InitStruct.Pull = GPIO_NOPULL;
  GPIO_InitStruct.Speed = GPIO_SPEED_FREQ_LOW;
  HAL_GPIO_Init(GPIOB, &GPIO_InitStruct);

  /*Configure GPIO pins : LPS22HB_INT_DRDY_EXTI0_Pin LSM6DSL_INT1_EXTI11_Pin HTS221_DRDY_EXTI15_Pin PMOD_IRQ_EXTI12_Pin */
  GPIO_InitStruct.Pin = LPS22HB_INT_DRDY_EXTI0_Pin|LSM6DSL_INT1_EXTI11_Pin|HTS221_DRDY_EXTI15_Pin|PMOD_IRQ_EXTI12_Pin;
  GPIO_InitStruct.Mode = GPIO_MODE_IT_RISING;
  GPIO_InitStruct.Pull = GPIO_NOPULL;
  HAL_GPIO_Init(GPIOD, &GPIO_InitStruct);

  /*Configure GPIO pins : USB_OTG_FS_PWR_EN_Pin SPBTLE_RF_SPI3_CSN_Pin PMOD_RESET_Pin STSAFE_A100_RESET_Pin */
  GPIO_InitStruct.Pin = USB_OTG_FS_PWR_EN_Pin|SPBTLE_RF_SPI3_CSN_Pin|PMOD_RESET_Pin|STSAFE_A100_RESET_Pin;
  GPIO_InitStruct.Mode = GPIO_MODE_OUTPUT_PP;
  GPIO_InitStruct.Pull = GPIO_NOPULL;
  GPIO_InitStruct.Speed = GPIO_SPEED_FREQ_LOW;
  HAL_GPIO_Init(GPIOD, &GPIO_InitStruct);

  /*Configure GPIO pins : VL53L0X_XSHUT_Pin LED3_WIFI__LED4_BLE_Pin */
  GPIO_InitStruct.Pin = VL53L0X_XSHUT_Pin|LED3_WIFI__LED4_BLE_Pin;
  GPIO_InitStruct.Mode = GPIO_MODE_OUTPUT_PP;
  GPIO_InitStruct.Pull = GPIO_NOPULL;
  GPIO_InitStruct.Speed = GPIO_SPEED_FREQ_LOW;
  HAL_GPIO_Init(GPIOC, &GPIO_InitStruct);

  /*Configure GPIO pins : VL53L0X_GPIO1_EXTI7_Pin LSM3MDL_DRDY_EXTI8_Pin */
  GPIO_InitStruct.Pin = VL53L0X_GPIO1_EXTI7_Pin|LSM3MDL_DRDY_EXTI8_Pin;
  GPIO_InitStruct.Mode = GPIO_MODE_IT_RISING;
  GPIO_InitStruct.Pull = GPIO_NOPULL;
  HAL_GPIO_Init(GPIOC, &GPIO_InitStruct);

  /*Configure GPIO pin : SPBTLE_RF_RST_Pin */
  GPIO_InitStruct.Pin = SPBTLE_RF_RST_Pin;
  GPIO_InitStruct.Mode = GPIO_MODE_OUTPUT_PP;
  GPIO_InitStruct.Pull = GPIO_NOPULL;
  GPIO_InitStruct.Speed = GPIO_SPEED_FREQ_LOW;
  HAL_GPIO_Init(SPBTLE_RF_RST_GPIO_Port, &GPIO_InitStruct);

  /*Configure GPIO pin : PMOD_SPI2_SCK_Pin */
  GPIO_InitStruct.Pin = PMOD_SPI2_SCK_Pin;
  GPIO_InitStruct.Mode = GPIO_MODE_AF_PP;
  GPIO_InitStruct.Pull = GPIO_NOPULL;
  GPIO_InitStruct.Speed = GPIO_SPEED_FREQ_VERY_HIGH;
  GPIO_InitStruct.Alternate = GPIO_AF5_SPI2;
  HAL_GPIO_Init(PMOD_SPI2_SCK_GPIO_Port, &GPIO_InitStruct);

  /*Configure GPIO pins : ARD_D15_Pin ARD_D14_Pin */
  GPIO_InitStruct.Pin = ARD_D15_Pin|ARD_D14_Pin;
  GPIO_InitStruct.Mode = GPIO_MODE_AF_OD;
  GPIO_InitStruct.Pull = GPIO_PULLUP;
  GPIO_InitStruct.Speed = GPIO_SPEED_FREQ_VERY_HIGH;
  GPIO_InitStruct.Alternate = GPIO_AF4_I2C1;
  HAL_GPIO_Init(GPIOB, &GPIO_InitStruct);

  /* EXTI interrupt init*/
  HAL_NVIC_SetPriority(EXTI4_IRQn, 0, 0);
  HAL_NVIC_EnableIRQ(EXTI4_IRQn);

  HAL_NVIC_SetPriority(EXTI9_5_IRQn, 0, 0);
  HAL_NVIC_EnableIRQ(EXTI9_5_IRQn);

  HAL_NVIC_SetPriority(EXTI15_10_IRQn, 0, 0);
  HAL_NVIC_EnableIRQ(EXTI15_10_IRQn);

}

void Error_Handler(void)
{
  __disable_irq();
  while (1)
  {
  }
}

/************************ (C) COPYRIGHT STMicroelectronics *****END OF FILE****/
